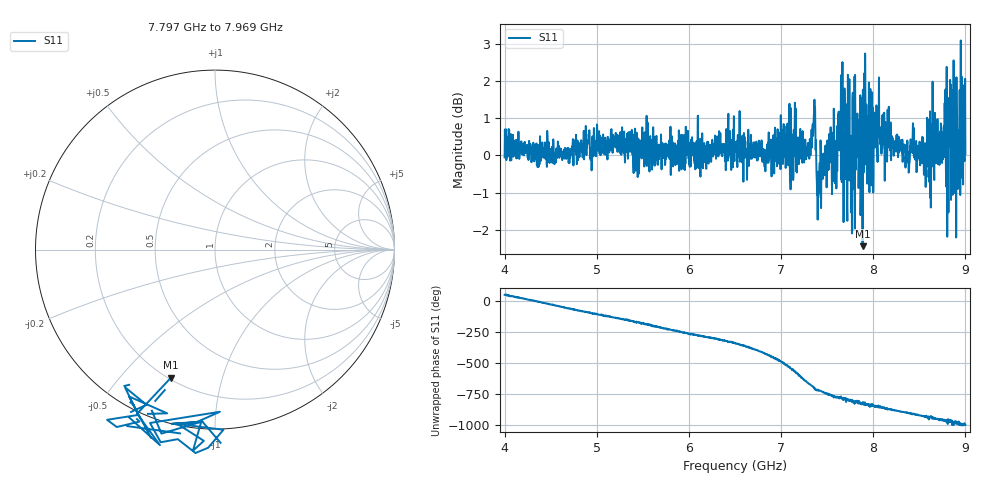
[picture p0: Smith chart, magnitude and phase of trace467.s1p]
! Created with skrf 1.8.0 (http://scikit-rf.org).
# Hz S RI R 50.0
!freq ReS11 ImS11
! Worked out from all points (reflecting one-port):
!   1601 points, 4 GHz to 9 GHz, reference 50 ohm
!   lowest |S11| = -2.4 dB at 7.884 GHz (marker M1), VSWR 7.16, Z = 10.4 - j34.6 ohm
!   phase of S11 starts at 50 deg and turns -1052 deg over the sweep
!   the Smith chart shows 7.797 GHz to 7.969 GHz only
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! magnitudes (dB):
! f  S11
! 4 GHz  -0.1
! 4.625 GHz  -0.1
! 5.25 GHz  0.1
! 5.875 GHz  -0.1
! 6.5 GHz  0.2
! 6.819 GHz  -0.2
! 7.125 GHz  0.6
! 7.272 GHz  -0.1
! 7.353 GHz  0.9
! 7.409 GHz  -1.0
! 7.466 GHz  0.0
! 7.575 GHz  0.4
! 7.641 GHz  0.2
! 7.75 GHz  0.1
! 7.769 GHz  -2.1
! 7.8 GHz  -2.0
! 7.859 GHz  1.6
! 7.884 GHz  -2.4
! 7.928 GHz  0.2
! 7.981 GHz  -0.8
! 8.047 GHz  -0.2
! 8.375 GHz  -0.1
! 8.441 GHz  0.0
! 8.616 GHz  1.2
! 8.775 GHz  1.4
! 8.919 GHz  -0.8
! 8.972 GHz  0.4
! 9 GHz  0.0
